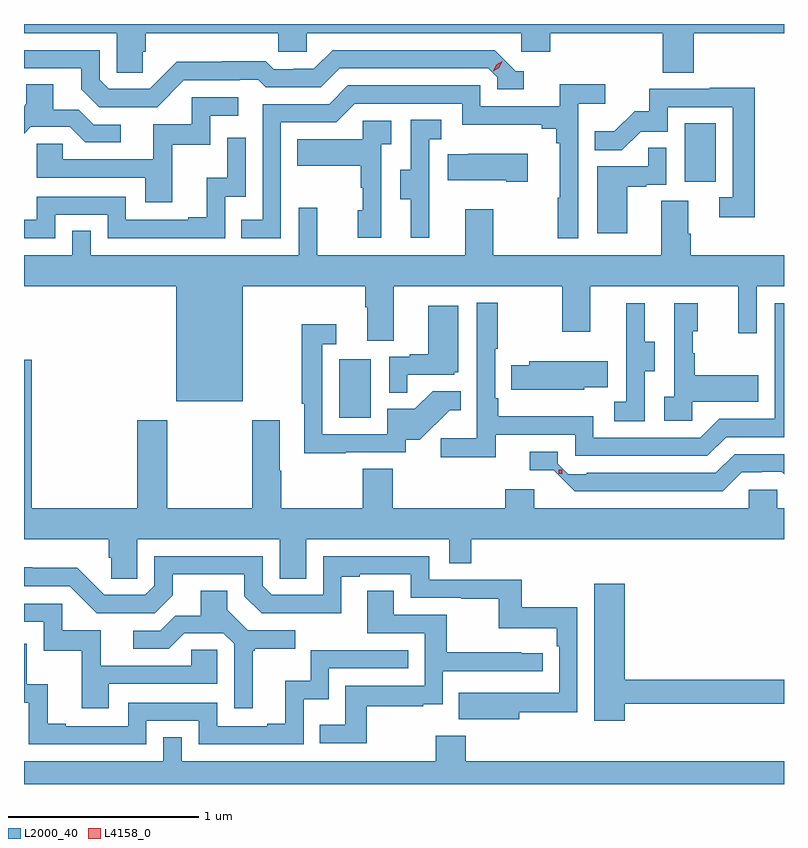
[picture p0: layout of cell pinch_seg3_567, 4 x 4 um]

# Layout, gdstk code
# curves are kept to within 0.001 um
import gdstk
lib = gdstk.Library(unit=1e-6, precision=1e-09)
def R(c, l, rs):  # rectangles x0, y0, x1, y1
    for r in rs: c.add(gdstk.rectangle(r[:2], r[2:], *l))
def P(c, l, *ps):  # polygons
    for p in ps: c.add(gdstk.Polygon(p, *l))
L2000_40 = (2000, 40)
L4158_0 = (4158, 0)

pinch_seg3_567 = lib.new_cell('pinch_seg3_567')
R(pinch_seg3_567, L2000_40, [(1127.246,698.892,1127.41,699.199), (1129.064,700.134,1129.228,700.441)])
P(pinch_seg3_567, L2000_40, [(1126.211,700.818),(1126.226,700.818),(1126.226,700.916),(1126.923,700.916),(1126.923,700.818),(1127.073,700.818),(1127.073,700.916),(1128.204,700.916),(1128.204,700.818),(1128.356,700.818),(1128.356,700.916),(1128.947,700.916),(1128.947,700.708),(1129.112,700.708),(1129.112,700.916),(1129.586,700.916),(1129.586,700.964),(1125.586,700.964),(1125.586,700.916),(1126.074,700.916),(1126.074,700.708),(1126.211,700.708)],
  [(1126.428,700.668),(1126.721,700.668),(1126.721,700.671),(1126.82,700.671),(1126.859,700.632),(1127.148,700.632),(1127.247,700.731),(1128.03,700.731),(1128.078,700.683),(1128.078,700.62),(1128.217,700.62),(1128.217,700.716),(1128.174,700.716),(1128.063,700.827),(1127.21,700.827),(1127.111,700.728),(1127.004,700.728),(1127.004,700.725),(1126.901,700.725),(1126.859,700.768),(1126.626,700.768),(1126.626,700.765),(1126.39,700.765),(1126.248,700.623),(1126.032,700.623),(1125.984,700.671),(1125.984,700.827),(1125.586,700.827),(1125.586,700.731),(1125.887,700.731),(1125.887,700.621),(1125.981,700.527),(1126.287,700.527)],
  [(1126.096,700.434),(1125.954,700.434),(1125.874,700.514),(1125.739,700.514),(1125.739,700.646),(1125.599,700.646),(1125.599,700.544),(1125.586,700.531),(1125.586,700.387),(1125.621,700.422),(1125.827,700.422),(1125.908,700.341),(1126.096,700.341)],
  [(1126.938,700.446),(1127.229,700.446),(1127.328,700.545),(1127.892,700.545),(1127.892,700.433),(1128.311,700.433),(1128.311,700.414),(1128.388,700.414),(1128.388,700.337),(1128.407,700.337),(1128.407,700.049),(1128.396,700.049),(1128.396,699.837),(1128.504,699.837),(1128.504,700.544),(1128.646,700.544),(1128.646,700.646),(1128.407,700.646),(1128.407,700.53),(1127.988,700.53),(1127.988,700.641),(1127.291,700.641),(1127.192,700.542),(1126.842,700.542),(1126.842,699.933),(1126.729,699.933),(1126.729,699.837),(1126.938,699.837)],
  [(1129.433,700.628),(1129.195,700.628),(1129.195,700.623),(1128.877,700.623),(1128.877,700.506),(1128.8,700.506),(1128.693,700.399),(1128.589,700.399),(1128.589,700.3),(1128.733,700.3),(1128.831,700.398),(1128.975,700.398),(1128.975,700.527),(1129.317,700.527),(1129.317,700.053),(1129.245,700.053),(1129.245,699.948),(1129.433,699.948)],
  [(1126.367,700.329),(1126.566,700.329),(1126.566,700.482),(1126.714,700.482),(1126.714,700.578),(1126.47,700.578),(1126.47,700.437),(1126.265,700.437),(1126.265,700.251),(1125.791,700.251),(1125.791,700.335),(1125.654,700.335),(1125.654,700.155),(1126.223,700.155),(1126.223,700.026),(1126.367,700.026)],
  [(1127.72,700.053),(1127.718,700.053),(1127.718,700.357),(1127.782,700.357),(1127.782,700.46),(1127.622,700.46),(1127.622,700.197),(1127.567,700.197),(1127.567,700.042),(1127.621,700.042),(1127.621,699.84),(1127.72,699.84)],
  [(1127.466,700.331),(1127.518,700.331),(1127.518,700.455),(1127.37,700.455),(1127.37,700.357),(1127.023,700.357),(1127.023,700.217),(1127.358,700.217),(1127.358,700.103),(1127.368,700.103),(1127.368,699.984),(1127.342,699.984),(1127.342,699.84),(1127.466,699.84)],
  [(1125.75,699.96),(1126.026,699.96),(1126.026,699.837),(1126.644,699.837),(1126.644,700.056),(1126.752,700.056),(1126.752,700.366),(1126.656,700.366),(1126.656,700.154),(1126.547,700.154),(1126.547,699.946),(1126.451,699.946),(1126.451,699.933),(1126.122,699.933),(1126.122,700.056),(1125.654,700.056),(1125.654,699.933),(1125.586,699.933),(1125.586,699.837),(1125.75,699.837)],
  [(1128.76,700.107),(1128.86,700.107),(1128.86,700.119),(1128.966,700.119),(1128.966,700.313),(1128.871,700.313),(1128.871,700.215),(1128.602,700.215),(1128.602,699.864),(1128.76,699.864)],
  [(1128.238,700.282),(1127.923,700.282),(1127.923,700.279),(1127.815,700.279),(1127.815,700.142),(1128.125,700.142),(1128.125,700.135),(1128.238,700.135)],
  [(1126.738,699.584),(1127.381,699.584),(1127.381,699.472),(1127.393,699.472),(1127.393,699.298),(1127.533,699.298),(1127.533,699.584),(1128.418,699.584),(1128.418,699.345),(1128.565,699.345),(1128.565,699.584),(1129.346,699.584),(1129.346,699.336),(1129.443,699.336),(1129.443,699.584),(1129.586,699.584),(1129.586,699.748),(1129.094,699.748),(1129.094,699.86),(1129.081,699.86),(1129.081,700.034),(1128.941,700.034),(1128.941,699.748),(1128.057,699.748),(1128.057,699.988),(1127.909,699.988),(1127.909,699.748),(1127.129,699.748),(1127.129,699.997),(1127.031,699.997),(1127.031,699.748),(1125.936,699.748),(1125.936,699.875),(1125.84,699.875),(1125.84,699.748),(1125.586,699.748),(1125.586,699.584),(1126.388,699.584),(1126.388,698.978),(1126.738,698.978)],
  [(1128.068,698.802),(1128.486,698.802),(1128.486,698.691),(1129.183,698.691),(1129.282,698.79),(1129.586,698.79),(1129.586,699.495),(1129.536,699.495),(1129.536,698.886),(1129.245,698.886),(1129.146,698.787),(1128.582,698.787),(1128.582,698.899),(1128.083,698.899),(1128.083,698.995),(1128.066,698.995),(1128.066,699.256),(1128.079,699.256),(1128.079,699.496),(1127.97,699.496),(1127.97,698.784),(1127.78,698.784),(1127.78,698.684),(1128.068,698.684)],
  [(1129.104,698.975),(1129.451,698.975),(1129.451,699.115),(1129.117,699.115),(1129.117,699.23),(1129.107,699.23),(1129.107,699.348),(1129.132,699.348),(1129.132,699.493),(1129.008,699.493),(1129.008,699.002),(1128.957,699.002),(1128.957,698.877),(1129.104,698.877)],
  [(1128.852,699.136),(1128.907,699.136),(1128.907,699.291),(1128.853,699.291),(1128.853,699.493),(1128.755,699.493),(1128.755,699.279),(1128.756,699.279),(1128.756,698.975),(1128.693,698.975),(1128.693,698.872),(1128.852,698.872)],
  [(1127.603,699.117),(1127.85,699.117),(1127.85,699.132),(1127.872,699.132),(1127.872,699.481),(1127.714,699.481),(1127.714,699.226),(1127.615,699.226),(1127.615,699.213),(1127.508,699.213),(1127.508,699.023),(1127.603,699.023)],
  [(1127.279,698.709),(1127.595,698.709),(1127.595,698.776),(1127.67,698.776),(1127.826,698.931),(1127.885,698.931),(1127.885,699.032),(1127.737,699.032),(1127.643,698.938),(1127.499,698.938),(1127.499,698.805),(1127.157,698.805),(1127.157,699.279),(1127.23,699.279),(1127.23,699.385),(1127.049,699.385),(1127.049,698.965),(1127.061,698.965),(1127.061,698.704),(1127.279,698.704)],
  [(1126.182,698.252),(1126.932,698.252),(1126.932,698.044),(1127.071,698.044),(1127.071,698.252),(1127.823,698.252),(1127.823,698.125),(1127.939,698.125),(1127.939,698.252),(1129.586,698.252),(1129.586,698.416),(1129.551,698.416),(1129.551,698.514),(1129.401,698.514),(1129.401,698.416),(1128.271,698.416),(1128.271,698.515),(1128.119,698.515),(1128.119,698.416),(1127.528,698.416),(1127.528,698.624),(1127.368,698.624),(1127.368,698.416),(1126.941,698.416),(1126.941,698.612),(1126.933,698.612),(1126.933,698.878),(1126.786,698.878),(1126.786,698.416),(1126.341,698.416),(1126.341,698.878),(1126.181,698.878),(1126.181,698.416),(1125.626,698.416),(1125.626,699.196),(1125.586,699.196),(1125.586,698.252),(1126.031,698.252),(1126.031,698.154),(1126.045,698.154),(1126.045,698.044),(1126.182,698.044)],
  [(1128.534,699.053),(1128.659,699.053),(1128.659,699.19),(1128.245,699.19),(1128.245,699.168),(1128.151,699.168),(1128.151,699.039),(1128.262,699.039),(1128.262,699.038),(1128.534,699.038)],
  [(1129.363,698.604),(1129.47,698.604),(1129.47,698.607),(1129.573,698.607),(1129.586,698.594),(1129.586,698.7),(1129.326,698.7),(1129.227,698.601),(1128.547,698.601),(1128.547,698.595),(1128.45,698.595),(1128.396,698.649),(1128.396,698.712),(1128.249,698.712),(1128.249,698.616),(1128.373,698.616),(1128.484,698.505),(1129.264,698.505)],
  [(1128.193,697.342),(1128.498,697.342),(1128.498,697.894),(1128.205,697.894),(1128.205,698.04),(1127.718,698.04),(1127.718,698.163),(1127.16,698.163),(1127.16,697.959),(1126.89,697.959),(1126.842,698.007),(1126.842,698.163),(1126.272,698.163),(1126.272,698.007),(1126.224,697.959),(1126.008,697.959),(1125.866,698.101),(1125.63,698.101),(1125.63,698.104),(1125.586,698.104),(1125.586,698.004),(1125.828,698.004),(1125.969,697.863),(1126.275,697.863),(1126.369,697.957),(1126.369,698.067),(1126.746,698.067),(1126.746,697.953),(1126.836,697.863),(1127.257,697.862),(1127.257,698.055),(1127.353,698.055),(1127.353,698.067),(1127.622,698.067),(1127.622,697.944),(1127.887,697.944),(1127.887,697.939),(1128.084,697.939),(1128.084,697.784),(1128.389,697.784),(1128.389,697.688),(1128.402,697.688),(1128.402,697.443),(1127.875,697.444),(1127.875,697.304),(1128.193,697.304)],
  [(1128.748,697.386),(1129.586,697.386),(1129.586,697.514),(1128.748,697.514),(1128.748,698.017),(1128.587,698.017),(1128.587,697.296),(1128.748,697.296)],
  [(1127.389,697.374),(1127.687,697.374),(1127.687,697.385),(1127.79,697.385),(1127.79,697.557),(1128.316,697.557),(1128.316,697.653),(1128.203,697.653),(1128.203,697.658),(1127.81,697.658),(1127.81,697.854),(1127.533,697.854),(1127.533,697.982),(1127.393,697.982),(1127.393,697.758),(1127.694,697.758),(1127.694,697.482),(1127.278,697.482),(1127.278,697.276),(1127.143,697.276),(1127.143,697.179),(1127.389,697.179)],
  [(1126.789,697.665),(1126.801,697.665),(1126.801,697.676),(1127.014,697.676),(1127.014,697.773),(1126.764,697.773),(1126.657,697.88),(1126.657,697.982),(1126.517,697.982),(1126.517,697.85),(1126.382,697.85),(1126.302,697.77),(1126.161,697.77),(1126.161,697.677),(1126.348,697.677),(1126.429,697.758),(1126.635,697.758),(1126.692,697.701),(1126.692,697.362),(1126.789,697.362)],
  [(1126.033,697.491),(1126.602,697.491),(1126.602,697.671),(1126.465,697.671),(1126.465,697.587),(1125.991,697.587),(1125.991,697.773),(1125.786,697.773),(1125.786,697.914),(1125.586,697.914),(1125.586,697.818),(1125.69,697.818),(1125.69,697.665),(1125.889,697.665),(1125.889,697.362),(1126.033,697.362)],
  [(1126.23,697.296),(1126.506,697.296),(1126.506,697.173),(1127.058,697.173),(1127.058,697.409),(1127.19,697.409),(1127.19,697.572),(1127.609,697.572),(1127.609,697.668),(1127.094,697.668),(1127.094,697.507),(1126.961,697.507),(1126.961,697.282),(1126.865,697.282),(1126.865,697.269),(1126.602,697.269),(1126.602,697.392),(1126.134,697.392),(1126.134,697.269),(1125.805,697.269),(1125.805,697.282),(1125.71,697.282),(1125.71,697.49),(1125.6,697.49),(1125.6,697.702),(1125.586,697.702),(1125.586,697.392),(1125.612,697.392),(1125.612,697.173),(1126.23,697.173)],
  [(1129.586,697.084),(1127.912,697.084),(1127.912,697.219),(1127.752,697.219),(1127.752,697.084),(1126.416,697.084),(1126.416,697.211),(1126.32,697.211),(1126.32,697.084),(1125.586,697.084),(1125.586,696.964),(1129.586,696.964)])
R(pinch_seg3_567, L4158_0, [(1128.4,698.598,1128.42,698.618)])
P(pinch_seg3_567, L4158_0, [(1128.055,700.716),(1128.055,700.716),(1128.071,700.749),(1128.102,700.768),(1128.102,700.768),(1128.102,700.768),(1128.086,700.735),(1128.055,700.716)])

lib.write_gds('pinch_seg3_567.gds')
